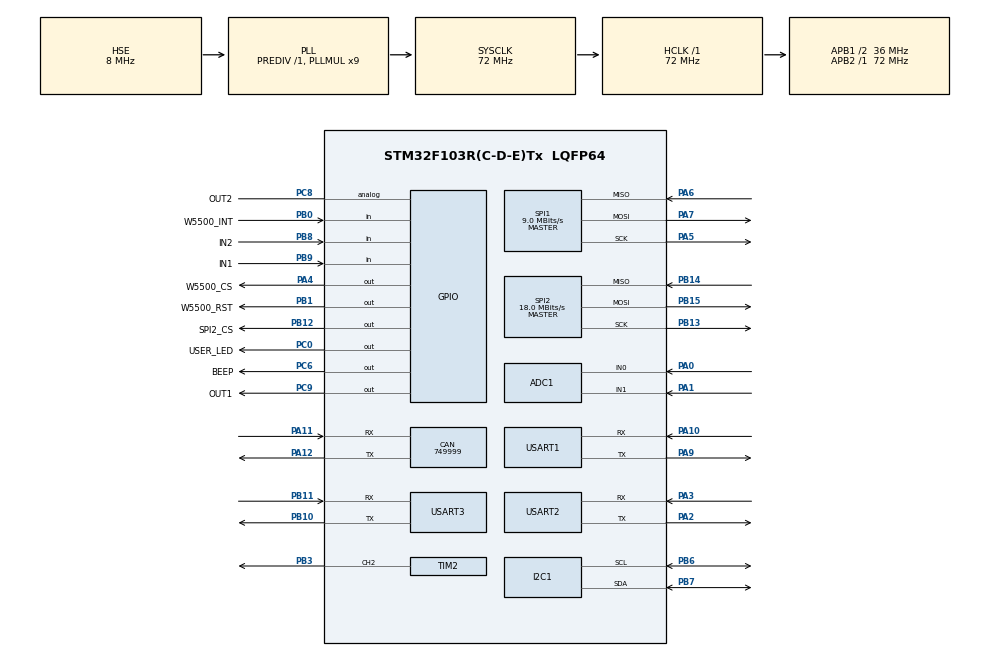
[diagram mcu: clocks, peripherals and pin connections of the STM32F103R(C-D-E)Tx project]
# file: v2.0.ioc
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ADC1.Channel-0\#ChannelRegularConversion=ADC_CHANNEL_0
ADC1.NbrOfConversionFlag=1
ADC1.Rank-0\#ChannelRegularConversion=1
ADC1.SamplingTime-0\#ChannelRegularConversion=ADC_SAMPLETIME_1CYCLE_5
ADC1.master=1
CAN.CalculateBaudRate=749999
CAN.CalculateTimeBit=1333
CAN.CalculateTimeQuantum=444.44444444444446
Dma.Request0=USART1_RX
Dma.Request1=USART2_RX
Dma.Request2=USART3_RX
Dma.USART1_RX.0.Direction=DMA_PERIPH_TO_MEMORY
Dma.USART1_RX.0.Instance=DMA1_Channel5
Dma.USART1_RX.0.MemDataAlignment=DMA_MDATAALIGN_BYTE
Dma.USART1_RX.0.MemInc=DMA_MINC_ENABLE
Dma.USART1_RX.0.Mode=DMA_NORMAL
Dma.USART1_RX.0.PeriphDataAlignment=DMA_PDATAALIGN_BYTE
Dma.USART1_RX.0.PeriphInc=DMA_PINC_DISABLE
Dma.USART1_RX.0.Priority=DMA_PRIORITY_LOW
Dma.USART2_RX.1.Direction=DMA_PERIPH_TO_MEMORY
Dma.USART2_RX.1.Instance=DMA1_Channel6
Dma.USART2_RX.1.MemDataAlignment=DMA_MDATAALIGN_BYTE
Dma.USART2_RX.1.MemInc=DMA_MINC_ENABLE
Dma.USART2_RX.1.Mode=DMA_NORMAL
Dma.USART2_RX.1.PeriphDataAlignment=DMA_PDATAALIGN_BYTE
Dma.USART2_RX.1.PeriphInc=DMA_PINC_DISABLE
Dma.USART2_RX.1.Priority=DMA_PRIORITY_LOW
Dma.USART3_RX.2.Direction=DMA_PERIPH_TO_MEMORY
Dma.USART3_RX.2.Instance=DMA1_Channel3
Dma.USART3_RX.2.MemDataAlignment=DMA_MDATAALIGN_BYTE
Dma.USART3_RX.2.MemInc=DMA_MINC_ENABLE
Dma.USART3_RX.2.Mode=DMA_NORMAL
Dma.USART3_RX.2.PeriphDataAlignment=DMA_PDATAALIGN_BYTE
Dma.USART3_RX.2.PeriphInc=DMA_PINC_DISABLE
Dma.USART3_RX.2.Priority=DMA_PRIORITY_LOW
Mcu.Family=STM32F1
Mcu.Name=STM32F103R(C-D-E)Tx
Mcu.Package=LQFP64
NVIC.CAN1_SCE_IRQn=true\:0\:0\:false\:false\:true\:true\:true\:true
NVIC.DMA1_Channel3_IRQn=true\:0\:0\:false\:false\:true\:false\:true\:true
NVIC.DMA1_Channel5_IRQn=true\:0\:0\:false\:false\:true\:false\:true\:true
NVIC.DMA1_Channel6_IRQn=true\:0\:0\:false\:false\:true\:false\:true\:true
NVIC.PriorityGroup=NVIC_PRIORITYGROUP_4
NVIC.TIM3_IRQn=true\:0\:0\:false\:false\:true\:true\:true\:true
NVIC.USART1_IRQn=true\:0\:0\:false\:false\:true\:true\:true\:true
NVIC.USART2_IRQn=true\:0\:0\:false\:false\:true\:true\:true\:true
NVIC.USART3_IRQn=true\:0\:0\:false\:false\:true\:true\:true\:true
NVIC.USB_LP_CAN1_RX0_IRQn=true\:0\:0\:false\:false\:true\:true\:true\:true
PA0-WKUP.Signal=SharedAnalog_PA0
PA1.Signal=SharedAnalog_PA1
PA10.Mode=Asynchronous
PA10.Signal=USART1_RX
PA11.Mode=CAN_Activate
PA11.Signal=CAN_RX
PA12.Mode=CAN_Activate
PA12.Signal=CAN_TX
PA13.Mode=Serial_Wire
PA13.Signal=SYS_JTMS-SWDIO
PA14.Mode=Serial_Wire
PA14.Signal=SYS_JTCK-SWCLK
PA2.Mode=Asynchronous
PA2.Signal=USART2_TX
PA3.Mode=Asynchronous
PA3.Signal=USART2_RX
PA4.GPIO_Label=W5500_CS
PA4.Signal=GPIO_Output
PA5.Mode=Full_Duplex_Master
PA5.Signal=SPI1_SCK
PA6.Mode=Full_Duplex_Master
PA6.Signal=SPI1_MISO
PA7.Mode=Full_Duplex_Master
PA7.Signal=SPI1_MOSI
PA9.Mode=Asynchronous
PA9.Signal=USART1_TX
PB0.GPIO_Label=W5500_INT
PB0.Signal=GPIO_Input
PB1.GPIO_Label=W5500_RST
PB1.Signal=GPIO_Output
PB10.Mode=Asynchronous
PB10.Signal=USART3_TX
PB11.Mode=Asynchronous
PB11.Signal=USART3_RX
PB12.GPIO_Label=SPI2_CS
PB12.Signal=GPIO_Output
PB13.Mode=Full_Duplex_Master
PB13.Signal=SPI2_SCK
PB14.Mode=Full_Duplex_Master
PB14.Signal=SPI2_MISO
PB15.Mode=Full_Duplex_Master
PB15.Signal=SPI2_MOSI
PB3.Signal=S_TIM2_CH2
PB6.Mode=I2C
PB6.Signal=I2C1_SCL
PB7.Mode=I2C
PB7.Signal=I2C1_SDA
PB8.GPIO_Label=IN2
PB8.Signal=GPIO_Input
PB9.GPIO_Label=IN1
PB9.Signal=GPIO_Input
PC0.GPIO_Label=USER_LED
PC0.Signal=GPIO_Output
PC14-OSC32_IN.Mode=LSE-External-Oscillator
PC14-OSC32_IN.Signal=RCC_OSC32_IN
PC15-OSC32_OUT.Mode=LSE-External-Oscillator
PC15-OSC32_OUT.Signal=RCC_OSC32_OUT
PC6.GPIO_Label=BEEP
PC6.Signal=GPIO_Output
PC8.GPIO_Label=OUT2
PC8.Signal=GPIO_Analog
PC9.GPIO_Label=OUT1
PC9.Signal=GPIO_Output
PD0-OSC_IN.Mode=HSE-External-Oscillator
PD0-OSC_IN.Signal=RCC_OSC_IN
PD1-OSC_OUT.Mode=HSE-External-Oscillator
PD1-OSC_OUT.Signal=RCC_OSC_OUT
ProjectManager.HeapSize=0x2000
ProjectManager.StackSize=0xA00
ProjectManager.TargetToolchain=MDK-ARM V5.32
RCC.ADCPresc=RCC_ADCPCLK2_DIV6
RCC.AHBFreq_Value=72000000
RCC.APB1CLKDivider=RCC_HCLK_DIV2
RCC.APB1Freq_Value=36000000
RCC.APB1TimFreq_Value=72000000
RCC.APB2Freq_Value=72000000
RCC.APB2TimFreq_Value=72000000
RCC.HCLKFreq_Value=72000000
RCC.PLLMUL=RCC_PLL_MUL9
RCC.PLLSourceVirtual=RCC_PLLSOURCE_HSE
RCC.SYSCLKFreq_VALUE=72000000
RCC.SYSCLKSource=RCC_SYSCLKSOURCE_PLLCLK
RCC.USBFreq_Value=72000000
SH.S_TIM2_CH2.0=TIM2_CH2,PWM Generation2 CH2
SH.SharedAnalog_PA0.0=GPIO_Analog
SH.SharedAnalog_PA0.1=ADC1_IN0,IN0
SH.SharedAnalog_PA1.0=GPIO_Analog
SH.SharedAnalog_PA1.1=ADC1_IN1,IN1
SPI1.BaudRatePrescaler=SPI_BAUDRATEPRESCALER_8
SPI1.CalculateBaudRate=9.0 MBits/s
SPI1.Direction=SPI_DIRECTION_2LINES
SPI1.Mode=SPI_MODE_MASTER
SPI1.VirtualType=VM_MASTER
SPI2.CalculateBaudRate=18.0 MBits/s
SPI2.Direction=SPI_DIRECTION_2LINES
SPI2.Mode=SPI_MODE_MASTER
SPI2.VirtualType=VM_MASTER
TIM2.Channel-PWM\ Generation2\ CH2=TIM_CHANNEL_2
TIM2.Period=100 - 1
TIM2.Prescaler=7200 - 1
TIM3.Period=10000-1
TIM3.Prescaler=7200-1
USART1.VirtualMode=VM_ASYNC
USART2.VirtualMode=VM_ASYNC
USART3.VirtualMode=VM_ASYNC
VP_TIM2_VS_ClockSourceINT.Mode=Internal
VP_TIM3_VS_ClockSourceINT.Mode=Internal
board=custom

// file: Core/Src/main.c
/* USER CODE BEGIN Header */
/**
  ******************************************************************************
  * @file           : main.c
  * @brief          : Main program body
  ******************************************************************************
  * @attention
  *
  * Copyright (c) 2026 STMicroelectronics.
  * All rights reserved.
  *
  * This software is licensed under terms that can be found in the LICENSE file
  * in the root directory of this software component.
  * If no LICENSE file comes with this software, it is provided AS-IS.
  *
  ******************************************************************************
  */
/* USER CODE END Header */
#include "main.h"
#include "adc.h"
#include "can.h"
#include "dma.h"
#include "i2c.h"
#include "spi.h"
#include "tim.h"
#include "usart.h"
#include "gpio.h"

/* USER CODE BEGIN Includes */
#include "digital.h"
#include "stdio.h"

#include "lfs_user.h"
#include "msh.h"
#include "app_w25qxx.h"
#include "app_w5500.h"
#include "temp.h"
#include "STTS22HTR.h"
#include "Filter_manager.h"

#include "app_flashdb.h"
#include "dns.h"
#include "mqtt_interface.h"
#include "app_w5500_ntp.h"
#include "debug_print.h"

/* USER CODE END Includes */

void SystemClock_Config(void);

/* USER CODE BEGIN 0 */
uint8_t u1_rx[256];
uint8_t u3_rx[256];
int fputc(int ch, FILE *f)
{
  HAL_UART_Transmit(&huart1, (uint8_t*)&ch, 1, HAL_MAX_DELAY);
	return ch;
}
#define DEBUG_ENABLE    1
#define DEBUG_LOG "[ MAIN ]"
/* USER CODE END 0 */

int main(void)
{

  /* MCU Configuration--------------------------------------------------------*/

  /* Reset of all peripherals, Initializes the Flash interface and the Systick. */
  HAL_Init();

  /* Configure the system clock */
  SystemClock_Config();

  /* USER CODE BEGIN SysInit */

  /* 时钟配置完成后才开启中断，此时 SysTick 已正确配置 */
  __enable_irq();
  /* USER CODE END SysInit */

  /* Initialize all configured peripherals */
  MX_GPIO_Init();
  MX_DMA_Init();
  MX_SPI1_Init();
  MX_SPI2_Init();
  MX_USART1_UART_Init();
  MX_USART2_UART_Init();
  MX_USART3_UART_Init();
  MX_CAN_Init();
  MX_TIM2_Init();
  MX_ADC1_Init();
  MX_TIM3_Init();
  MX_I2C1_Init();
  /* USER CODE BEGIN 2 */
#ifndef MSH_USE_RTT
	HAL_UARTEx_ReceiveToIdle_DMA(&huart1 , u1_rx , sizeof(u1_rx));
#endif
	HAL_UARTEx_ReceiveToIdle_DMA(&huart3 , u3_rx , sizeof(u3_rx));
	HAL_TIM_Base_Start_IT(&htim3);
	HAL_TIM_PWM_Start(&htim2 , TIM_CHANNEL_2);
	HAL_ADC_Start(&hadc1);
//	HAL_CAN_Start(&hcan);

	board_temp_init(); // ADC自校准，提升精度
	msh_init();
  wizchip_initialize();
  filter_info_init();

  /* FlashDB initialization */
  app_flashdb_init();
  app_w5500_tcp_client_init(); //w5500 tcp client 参数初始化
	DEBUG_PRINT("APP Init Finish , Version:%s\r\n" , VERSION);

  /* USER CODE END 2 */

  /* Infinite loop */
  /* USER CODE BEGIN WHILE */
  while (1)
  {
    Set_digital_State_refresh();
    msh_process();
    Set_digital_State_refresh();
		network_proc();
		__HAL_TIM_SetCompare(&htim2 , TIM_CHANNEL_2 , 60);

    HAL_Delay(10);
    /* USER CODE END WHILE */

  }
}

void SystemClock_Config(void)
{
  RCC_OscInitTypeDef RCC_OscInitStruct = {0};
  RCC_ClkInitTypeDef RCC_ClkInitStruct = {0};
  RCC_PeriphCLKInitTypeDef PeriphClkInit = {0};

  /** Initializes the RCC Oscillators according to the specified parameters
  * in the RCC_OscInitTypeDef structure.
  */
  RCC_OscInitStruct.OscillatorType = RCC_OSCILLATORTYPE_HSE;
  RCC_OscInitStruct.HSEState = RCC_HSE_ON;
  RCC_OscInitStruct.HSEPredivValue = RCC_HSE_PREDIV_DIV1;
  RCC_OscInitStruct.HSIState = RCC_HSI_ON;
  RCC_OscInitStruct.PLL.PLLState = RCC_PLL_ON;
  RCC_OscInitStruct.PLL.PLLSource = RCC_PLLSOURCE_HSE;
  RCC_OscInitStruct.PLL.PLLMUL = RCC_PLL_MUL9;
  if (HAL_RCC_OscConfig(&RCC_OscInitStruct) != HAL_OK)
  {
    Error_Handler();
  }

  /** Initializes the CPU, AHB and APB buses clocks
  */
  RCC_ClkInitStruct.ClockType = RCC_CLOCKTYPE_HCLK|RCC_CLOCKTYPE_SYSCLK
                              |RCC_CLOCKTYPE_PCLK1|RCC_CLOCKTYPE_PCLK2;
  RCC_ClkInitStruct.SYSCLKSource = RCC_SYSCLKSOURCE_PLLCLK;
  RCC_ClkInitStruct.AHBCLKDivider = RCC_SYSCLK_DIV1;
  RCC_ClkInitStruct.APB1CLKDivider = RCC_HCLK_DIV2;
  RCC_ClkInitStruct.APB2CLKDivider = RCC_HCLK_DIV1;

  if (HAL_RCC_ClockConfig(&RCC_ClkInitStruct, FLASH_LATENCY_2) != HAL_OK)
  {
    Error_Handler();
  }
  PeriphClkInit.PeriphClockSelection = RCC_PERIPHCLK_ADC;
  PeriphClkInit.AdcClockSelection = RCC_ADCPCLK2_DIV6;
  if (HAL_RCCEx_PeriphCLKConfig(&PeriphClkInit) != HAL_OK)
  {
    Error_Handler();
  }
}

/* USER CODE BEGIN 4 */
void HAL_UARTEx_RxEventCallback(UART_HandleTypeDef *huart, uint16_t Size)
{
#if !MSH_USE_RTT
	if(huart->Instance == USART1){
		msh_rx_data(u1_rx , Size);
	}else
#endif
	if(huart->Instance == USART3){

	}
}

void HAL_TIM_PeriodElapsedCallback(TIM_HandleTypeDef *htim)
{
	if(htim->Instance == TIM3)
	{
		DHCP_time_handler();
		DNS_time_handler();
    MilliTimer_Handler();
		app_w5500_ntp_1s_callback();
    app_w5500_1s_callback();
		// tcp_1s_callback();

	}
}
/* USER CODE END 4 */

void Error_Handler(void)
{
  __disable_irq();
  while (1)
  {
  }
}
